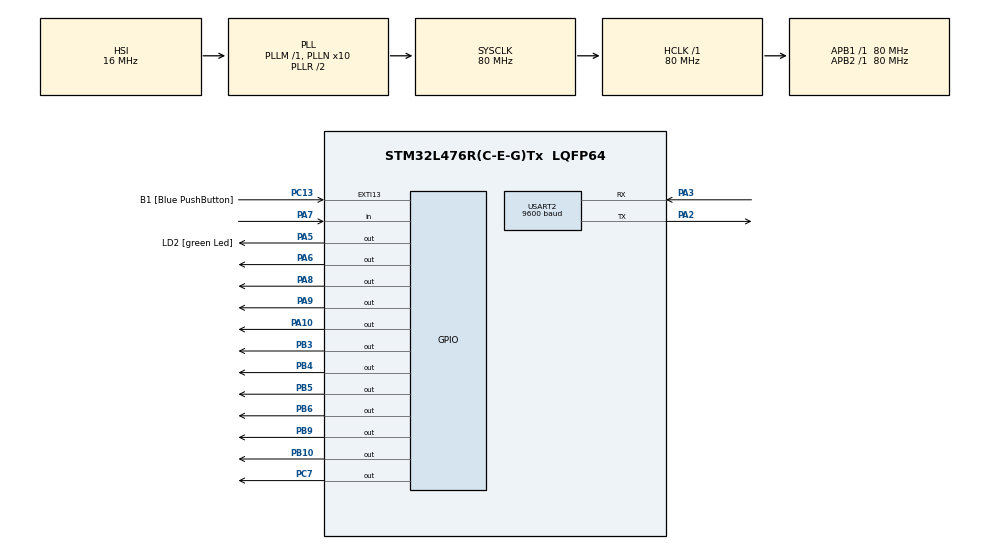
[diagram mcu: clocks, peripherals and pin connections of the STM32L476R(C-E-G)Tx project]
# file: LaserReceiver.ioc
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Mcu.Family=STM32L4
Mcu.Name=STM32L476R(C-E-G)Tx
Mcu.Package=LQFP64
NVIC.PriorityGroup=NVIC_PRIORITYGROUP_4
NVIC.TIM2_IRQn=true\:0\:0\:false\:false\:true\:true\:true\:true
PA10.Signal=GPIO_Output
PA13\ (JTMS-SWDIO).GPIO_Label=TMS
PA13\ (JTMS-SWDIO).Mode=Serial_Wire
PA13\ (JTMS-SWDIO).Signal=SYS_JTMS-SWDIO
PA14\ (JTCK-SWCLK).GPIO_Label=TCK
PA14\ (JTCK-SWCLK).Mode=Serial_Wire
PA14\ (JTCK-SWCLK).Signal=SYS_JTCK-SWCLK
PA2.Mode=Asynchronous
PA2.Signal=USART2_TX
PA3.Mode=Asynchronous
PA3.Signal=USART2_RX
PA5.GPIO_Label=LD2 [green Led]
PA5.GPIO_ModeDefaultOutputPP=GPIO_MODE_OUTPUT_PP
PA5.GPIO_PuPd=GPIO_NOPULL
PA5.GPIO_Speed=GPIO_SPEED_FREQ_LOW
PA5.Signal=GPIO_Output
PA6.Signal=GPIO_Output
PA7.Signal=GPIO_Input
PA8.Signal=GPIO_Output
PA9.Signal=GPIO_Output
PB10.Signal=GPIO_Output
PB3\ (JTDO-TRACESWO).Signal=GPIO_Output
PB4\ (NJTRST).Signal=GPIO_Output
PB5.Signal=GPIO_Output
PB6.Signal=GPIO_Output
PB9.Signal=GPIO_Output
PC13.GPIO_Label=B1 [Blue PushButton]
PC13.GPIO_ModeDefaultEXTI=GPIO_MODE_IT_FALLING
PC13.GPIO_PuPd=GPIO_NOPULL
PC13.Signal=GPXTI13
PC14-OSC32_IN\ (PC14).Mode=LSE-External-Oscillator
PC14-OSC32_IN\ (PC14).Signal=RCC_OSC32_IN
PC15-OSC32_OUT\ (PC15).Mode=LSE-External-Oscillator
PC15-OSC32_OUT\ (PC15).Signal=RCC_OSC32_OUT
PC7.Signal=GPIO_Output
PH0-OSC_IN\ (PH0).Signal=RCC_OSC_IN
PH1-OSC_OUT\ (PH1).Signal=RCC_OSC_OUT
ProjectManager.HeapSize=0x200
ProjectManager.StackSize=0x400
ProjectManager.TargetToolchain=STM32CubeIDE
RCC.ADCFreq_Value=64000000
RCC.AHBFreq_Value=80000000
RCC.APB1Freq_Value=80000000
RCC.APB1TimFreq_Value=80000000
RCC.APB2Freq_Value=80000000
RCC.APB2TimFreq_Value=80000000
RCC.CortexFreq_Value=80000000
RCC.HCLKFreq_Value=80000000
RCC.HSE_VALUE=8000000
RCC.HSI_VALUE=16000000
RCC.MSI_VALUE=4000000
RCC.PLLN=10
RCC.PLLSourceVirtual=RCC_PLLSOURCE_HSI
RCC.PREFETCH_ENABLE=1
RCC.SYSCLKFreq_VALUE=80000000
RCC.SYSCLKSource=RCC_SYSCLKSOURCE_PLLCLK
RCC.USBFreq_Value=64000000
RCC.VCOOutputFreq_Value=160000000
TIM1.Prescaler=80-1
TIM2.Channel-Output\ Compare1\ No\ Output=TIM_CHANNEL_1
USART2.BaudRate=9600
USART2.VirtualMode-Asynchronous=VM_ASYNC
VP_TIM1_VS_ClockSourceINT.Mode=Internal
VP_TIM2_VS_ClockSourceINT.Mode=Internal
VP_TIM2_VS_no_output1.Mode=Output Compare1 No Output
board=NUCLEO-L476RG

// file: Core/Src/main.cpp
/* USER CODE BEGIN Header */
/**
  ******************************************************************************
  * @file           : main.c
  * @brief          : Main program body
  ******************************************************************************
  * @attention
  *
  * Copyright (c) 2022 STMicroelectronics.
  * All rights reserved.
  *
  * This software is licensed under terms that can be found in the LICENSE file
  * in the root directory of this software component.
  * If no LICENSE file comes with this software, it is provided AS-IS.
  *
  ******************************************************************************
  */
/* USER CODE END Header */
#include "main.h"

/* USER CODE BEGIN Includes */
#include <ASK.h>
#include "lcd.h"

/* USER CODE END Includes */

 TIM_HandleTypeDef htim1;
TIM_HandleTypeDef htim2;

UART_HandleTypeDef huart2;

/* USER CODE BEGIN PV */
ASK driver;
/* USER CODE END PV */

void SystemClock_Config(void);
static void MX_GPIO_Init(void);
static void MX_USART2_UART_Init(void);
static void MX_TIM2_Init(void);
static void MX_TIM1_Init(void);

int main(void)
{
  /* USER CODE BEGIN 1 */
	int32_t CH1_DC = 0;
	uint8_t errMsg[] = "Fail init";
	uint8_t passMsg[] = "Successful init";
	uint8_t preData[] = "Received: ";
	uint8_t newLine[] = "\r\n";
	uint8_t space[] = " ";
  /* USER CODE END 1 */

  /* MCU Configuration--------------------------------------------------------*/

  /* Reset of all peripherals, Initializes the Flash interface and the Systick. */
  HAL_Init();

  /* Configure the system clock */
  SystemClock_Config();

  /* Initialize all configured peripherals */
  MX_GPIO_Init();
  MX_USART2_UART_Init();
  MX_TIM2_Init();
  MX_TIM1_Init();
  /* USER CODE BEGIN 2 */
  HAL_TIM_Base_Start(&htim1);
  lcd lcd(GPIOB, GPIO_PIN_3, GPIOA, GPIO_PIN_10, GPIOB, GPIO_PIN_5, GPIOB, GPIO_PIN_4, GPIOB, GPIO_PIN_10, GPIOA, GPIO_PIN_8, &htim1);
  lcd.begin(16, 2);
  char mess[] = "Message:";
  size_t lenMess = sizeof(mess);
  for (unsigned int i = 0; i < lenMess -1; i++) {
	  lcd.write(mess[i]);
  }
  lcd.setCursor(0, 1);

  while (!driver.init()) {
	  HAL_UART_Transmit(&huart2, errMsg, strlen((char*) errMsg), 2000);
  }
  HAL_UART_Transmit(&huart2, passMsg, strlen((char*) passMsg), 2000);
  TIM2_IRQHandler();
  HAL_TIM_Base_Start_IT(&htim2);
  /* USER CODE END 2 */

  /* Infinite loop */
  /* USER CODE BEGIN WHILE */
  while (1)
  {
	  uint8_t buf[ASK_MAX_MESSAGE_LEN];
	  uint8_t buflen = sizeof(buf);
	  if (driver.recv(buf, &buflen)) {
		  HAL_UART_Transmit(&huart2, preData, strlen((char*) preData), 2000);
		  for (uint8_t i = 0; i < buflen; i++) {
			  if (i%16==15) {
				  HAL_UART_Transmit(&huart2, (const uint8_t*) buf[i], strlen((char*) buf[i]), 2000);
				  HAL_UART_Transmit(&huart2, newLine, strlen((char*) newLine), 2000);
			  } else {
				  lcd.write((char)buf[i]);
				  HAL_UART_Transmit(&huart2, (const uint8_t*) buf[i], strlen((char*) buf[i]), 2000);
				  HAL_UART_Transmit(&huart2, space, strlen((char*) space), 2000);
			  }
		  }
		  lcd.setCursor(0,1);
		  HAL_UART_Transmit(&huart2, buf, strlen((char*) buf), 2000);
	  }
    /* USER CODE END WHILE */

  }
}

void SystemClock_Config(void)
{
  RCC_OscInitTypeDef RCC_OscInitStruct = {0};
  RCC_ClkInitTypeDef RCC_ClkInitStruct = {0};

  /** Configure the main internal regulator output voltage
  */
  if (HAL_PWREx_ControlVoltageScaling(PWR_REGULATOR_VOLTAGE_SCALE1) != HAL_OK)
  {
    Error_Handler();
  }

  /** Initializes the RCC Oscillators according to the specified parameters
  * in the RCC_OscInitTypeDef structure.
  */
  RCC_OscInitStruct.OscillatorType = RCC_OSCILLATORTYPE_HSI;
  RCC_OscInitStruct.HSIState = RCC_HSI_ON;
  RCC_OscInitStruct.HSICalibrationValue = RCC_HSICALIBRATION_DEFAULT;
  RCC_OscInitStruct.PLL.PLLState = RCC_PLL_ON;
  RCC_OscInitStruct.PLL.PLLSource = RCC_PLLSOURCE_HSI;
  RCC_OscInitStruct.PLL.PLLM = 1;
  RCC_OscInitStruct.PLL.PLLN = 10;
  RCC_OscInitStruct.PLL.PLLP = RCC_PLLP_DIV7;
  RCC_OscInitStruct.PLL.PLLQ = RCC_PLLQ_DIV2;
  RCC_OscInitStruct.PLL.PLLR = RCC_PLLR_DIV2;
  if (HAL_RCC_OscConfig(&RCC_OscInitStruct) != HAL_OK)
  {
    Error_Handler();
  }

  /** Initializes the CPU, AHB and APB buses clocks
  */
  RCC_ClkInitStruct.ClockType = RCC_CLOCKTYPE_HCLK|RCC_CLOCKTYPE_SYSCLK
                              |RCC_CLOCKTYPE_PCLK1|RCC_CLOCKTYPE_PCLK2;
  RCC_ClkInitStruct.SYSCLKSource = RCC_SYSCLKSOURCE_PLLCLK;
  RCC_ClkInitStruct.AHBCLKDivider = RCC_SYSCLK_DIV1;
  RCC_ClkInitStruct.APB1CLKDivider = RCC_HCLK_DIV1;
  RCC_ClkInitStruct.APB2CLKDivider = RCC_HCLK_DIV1;

  if (HAL_RCC_ClockConfig(&RCC_ClkInitStruct, FLASH_LATENCY_4) != HAL_OK)
  {
    Error_Handler();
  }
}

static void MX_TIM1_Init(void)
{

  TIM_ClockConfigTypeDef sClockSourceConfig = {0};
  TIM_MasterConfigTypeDef sMasterConfig = {0};

  htim1.Instance = TIM1;
  htim1.Init.Prescaler = 80-1;
  htim1.Init.CounterMode = TIM_COUNTERMODE_UP;
  htim1.Init.Period = 65535;
  htim1.Init.ClockDivision = TIM_CLOCKDIVISION_DIV1;
  htim1.Init.RepetitionCounter = 0;
  htim1.Init.AutoReloadPreload = TIM_AUTORELOAD_PRELOAD_DISABLE;
  if (HAL_TIM_Base_Init(&htim1) != HAL_OK)
  {
    Error_Handler();
  }
  sClockSourceConfig.ClockSource = TIM_CLOCKSOURCE_INTERNAL;
  if (HAL_TIM_ConfigClockSource(&htim1, &sClockSourceConfig) != HAL_OK)
  {
    Error_Handler();
  }
  sMasterConfig.MasterOutputTrigger = TIM_TRGO_RESET;
  sMasterConfig.MasterOutputTrigger2 = TIM_TRGO2_RESET;
  sMasterConfig.MasterSlaveMode = TIM_MASTERSLAVEMODE_DISABLE;
  if (HAL_TIMEx_MasterConfigSynchronization(&htim1, &sMasterConfig) != HAL_OK)
  {
    Error_Handler();
  }

}

static void MX_TIM2_Init(void)
{

  TIM_ClockConfigTypeDef sClockSourceConfig = {0};
  TIM_MasterConfigTypeDef sMasterConfig = {0};
  TIM_OC_InitTypeDef sConfigOC = {0};

  htim2.Instance = TIM2;
  htim2.Init.Prescaler = 0;
  htim2.Init.CounterMode = TIM_COUNTERMODE_UP;
  htim2.Init.Period = 4294967295;
  htim2.Init.ClockDivision = TIM_CLOCKDIVISION_DIV1;
  htim2.Init.AutoReloadPreload = TIM_AUTORELOAD_PRELOAD_DISABLE;
  if (HAL_TIM_Base_Init(&htim2) != HAL_OK)
  {
    Error_Handler();
  }
  sClockSourceConfig.ClockSource = TIM_CLOCKSOURCE_INTERNAL;
  if (HAL_TIM_ConfigClockSource(&htim2, &sClockSourceConfig) != HAL_OK)
  {
    Error_Handler();
  }
  if (HAL_TIM_OC_Init(&htim2) != HAL_OK)
  {
    Error_Handler();
  }
  sMasterConfig.MasterOutputTrigger = TIM_TRGO_RESET;
  sMasterConfig.MasterSlaveMode = TIM_MASTERSLAVEMODE_DISABLE;
  if (HAL_TIMEx_MasterConfigSynchronization(&htim2, &sMasterConfig) != HAL_OK)
  {
    Error_Handler();
  }
  sConfigOC.OCMode = TIM_OCMODE_TIMING;
  sConfigOC.Pulse = 0;
  sConfigOC.OCPolarity = TIM_OCPOLARITY_HIGH;
  sConfigOC.OCFastMode = TIM_OCFAST_DISABLE;
  if (HAL_TIM_OC_ConfigChannel(&htim2, &sConfigOC, TIM_CHANNEL_1) != HAL_OK)
  {
    Error_Handler();
  }
  /* USER CODE BEGIN TIM2_Init 2 */
  uint16_t us=(HAL_RCC_GetHCLKFreq()/8)/driver.speed();
  htim2.Instance->CCR1 = us;
  htim2.Instance->ARR = us - 1;
  /* USER CODE END TIM2_Init 2 */

}

static void MX_USART2_UART_Init(void)
{

  huart2.Instance = USART2;
  huart2.Init.BaudRate = 9600;
  huart2.Init.WordLength = UART_WORDLENGTH_8B;
  huart2.Init.StopBits = UART_STOPBITS_1;
  huart2.Init.Parity = UART_PARITY_NONE;
  huart2.Init.Mode = UART_MODE_TX_RX;
  huart2.Init.HwFlowCtl = UART_HWCONTROL_NONE;
  huart2.Init.OverSampling = UART_OVERSAMPLING_16;
  huart2.Init.OneBitSampling = UART_ONE_BIT_SAMPLE_DISABLE;
  huart2.AdvancedInit.AdvFeatureInit = UART_ADVFEATURE_NO_INIT;
  if (HAL_UART_Init(&huart2) != HAL_OK)
  {
    Error_Handler();
  }

}

static void MX_GPIO_Init(void)
{
  GPIO_InitTypeDef GPIO_InitStruct = {0};

  /* GPIO Ports Clock Enable */
  __HAL_RCC_GPIOC_CLK_ENABLE();
  __HAL_RCC_GPIOH_CLK_ENABLE();
  __HAL_RCC_GPIOA_CLK_ENABLE();
  __HAL_RCC_GPIOB_CLK_ENABLE();

  /*Configure GPIO pin Output Level */
  HAL_GPIO_WritePin(GPIOA, LD2_Pin|GPIO_PIN_6|GPIO_PIN_8|GPIO_PIN_9
                          |GPIO_PIN_10, GPIO_PIN_RESET);

  /*Configure GPIO pin Output Level */
  HAL_GPIO_WritePin(GPIOB, GPIO_PIN_10|GPIO_PIN_3|GPIO_PIN_4|GPIO_PIN_5
                          |GPIO_PIN_6|GPIO_PIN_9, GPIO_PIN_RESET);

  /*Configure GPIO pin Output Level */
  HAL_GPIO_WritePin(GPIOC, GPIO_PIN_7, GPIO_PIN_RESET);

  /*Configure GPIO pin : B1_Pin */
  GPIO_InitStruct.Pin = B1_Pin;
  GPIO_InitStruct.Mode = GPIO_MODE_IT_FALLING;
  GPIO_InitStruct.Pull = GPIO_NOPULL;
  HAL_GPIO_Init(B1_GPIO_Port, &GPIO_InitStruct);

  /*Configure GPIO pins : LD2_Pin PA6 PA8 PA9
                           PA10 */
  GPIO_InitStruct.Pin = LD2_Pin|GPIO_PIN_6|GPIO_PIN_8|GPIO_PIN_9
                          |GPIO_PIN_10;
  GPIO_InitStruct.Mode = GPIO_MODE_OUTPUT_PP;
  GPIO_InitStruct.Pull = GPIO_NOPULL;
  GPIO_InitStruct.Speed = GPIO_SPEED_FREQ_LOW;
  HAL_GPIO_Init(GPIOA, &GPIO_InitStruct);

  /*Configure GPIO pin : PA7 */
  GPIO_InitStruct.Pin = GPIO_PIN_7;
  GPIO_InitStruct.Mode = GPIO_MODE_INPUT;
  GPIO_InitStruct.Pull = GPIO_NOPULL;
  HAL_GPIO_Init(GPIOA, &GPIO_InitStruct);

  /*Configure GPIO pins : PB10 PB3 PB4 PB5
                           PB6 PB9 */
  GPIO_InitStruct.Pin = GPIO_PIN_10|GPIO_PIN_3|GPIO_PIN_4|GPIO_PIN_5
                          |GPIO_PIN_6|GPIO_PIN_9;
  GPIO_InitStruct.Mode = GPIO_MODE_OUTPUT_PP;
  GPIO_InitStruct.Pull = GPIO_NOPULL;
  GPIO_InitStruct.Speed = GPIO_SPEED_FREQ_LOW;
  HAL_GPIO_Init(GPIOB, &GPIO_InitStruct);

  /*Configure GPIO pin : PC7 */
  GPIO_InitStruct.Pin = GPIO_PIN_7;
  GPIO_InitStruct.Mode = GPIO_MODE_OUTPUT_PP;
  GPIO_InitStruct.Pull = GPIO_NOPULL;
  GPIO_InitStruct.Speed = GPIO_SPEED_FREQ_LOW;
  HAL_GPIO_Init(GPIOC, &GPIO_InitStruct);

}

void Error_Handler(void)
{
  __disable_irq();
  while (1)
  {
  }
}
